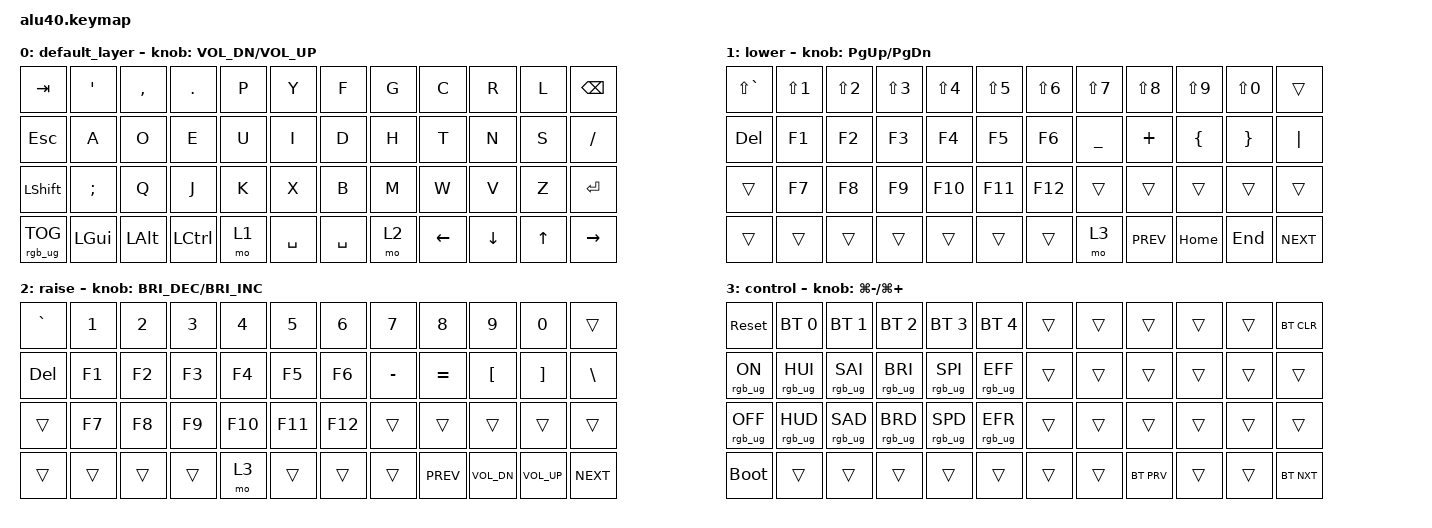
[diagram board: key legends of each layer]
/*
 * Copyright (c) 2022 The ZMK Contributors
 *
 * SPDX-License-Identifier: MIT
 */

#include <behaviors.dtsi>
#include <dt-bindings/zmk/bt.h>
#include <dt-bindings/zmk/keys.h>
#include <dt-bindings/zmk/rgb.h>

/ {
    keymap {
        compatible = "zmk,keymap";

        default_layer {
            // -----------------------------------------------------------------------------------------
            // | ESC/~ |  Q   |  W   |  E   |  R   |  T   |   Y   |  U    |  I   |  O   |   P   | BSPC  |
            // | TAB   |  A   |  S   |  D   |  F   |  G   |   H   |  J    |  K   |  L   |   ;   |  '    |
            // | SHIFT |  Z   |  X   |  C   |  V   |  B   |   N   |  M    |  ,   |  .   |   /   |RET/SFT|
            // | PLAY  | LCTL | LALT | LGUI | LOWR |     SPACE    |  RAIS | LARW | UARW | DARW  |  RARW |

            bindings = <
&kp TAB          &kp SQT        &kp COMMA  &kp PERIOD  &kp P  &kp Y      &kp F      &kp G  &kp C     &kp R     &kp L   &kp BSPC
&kp ESCAPE       &kp A          &kp O      &kp E       &kp U  &kp I      &kp D      &kp H  &kp T     &kp N     &kp S   &kp FSLH
&kp LSHFT        &kp SEMICOLON  &kp Q      &kp J       &kp K  &kp X      &kp B      &kp M  &kp W     &kp V     &kp Z   &kp RETURN
&rgb_ug RGB_TOG  &kp LGUI       &kp LALT   &kp LCTRL   &mo 1  &kp SPACE  &kp SPACE  &mo 2  &kp LEFT  &kp DOWN  &kp UP  &kp RIGHT
            >;

            sensor-bindings = <&inc_dec_kp C_VOL_DN C_VOL_UP>;
        };

        lower {
            bindings = <
&kp LS(GRAVE)  &kp LS(N1)  &kp LS(N2)  &kp LS(N3)  &kp LS(N4)  &kp LS(N5)  &kp LS(N6)  &kp LS(N7)  &kp LS(N8)  &kp LS(N9)  &kp LS(N0)  &trans
&kp DEL        &kp F1      &kp F2      &kp F3      &kp F4      &kp F5      &kp F6      &kp UNDER   &kp PLUS    &kp LBRC    &kp RBRC    &kp PIPE
&trans         &kp F7      &kp F8      &kp F9      &kp F10     &kp F11     &kp F12     &trans      &trans      &trans      &trans      &trans
&trans         &trans      &trans      &trans      &trans      &trans      &trans      &mo 3       &kp C_PREV  &kp HOME    &kp END     &kp C_NEXT
            >;

            sensor-bindings = <&inc_dec_kp PG_UP PG_DN>;
        };

        raise {
            bindings = <
&kp GRAVE  &kp N1  &kp N2  &kp N3  &kp N4   &kp N5   &kp N6   &kp N7     &kp N8      &kp N9        &kp N0        &trans
&kp DEL    &kp F1  &kp F2  &kp F3  &kp F4   &kp F5   &kp F6   &kp MINUS  &kp EQUAL   &kp LBKT      &kp RBKT      &kp BSLH
&trans     &kp F7  &kp F8  &kp F9  &kp F10  &kp F11  &kp F12  &trans     &trans      &trans        &trans        &trans
&trans     &trans  &trans  &trans  &mo 3    &trans   &trans   &trans     &kp C_PREV  &kp C_VOL_DN  &kp C_VOL_UP  &kp C_NEXT
            >;

            sensor-bindings = <&inc_dec_kp C_BRI_DEC C_BRI_INC>;
        };

        control {
            bindings = <
&sys_reset       &bt BT_SEL 0     &bt BT_SEL 1     &bt BT_SEL 2     &bt BT_SEL 3     &bt BT_SEL 4     &trans  &trans  &trans      &trans  &trans  &bt BT_CLR
&rgb_ug RGB_ON   &rgb_ug RGB_HUI  &rgb_ug RGB_SAI  &rgb_ug RGB_BRI  &rgb_ug RGB_SPI  &rgb_ug RGB_EFF  &trans  &trans  &trans      &trans  &trans  &trans
&rgb_ug RGB_OFF  &rgb_ug RGB_HUD  &rgb_ug RGB_SAD  &rgb_ug RGB_BRD  &rgb_ug RGB_SPD  &rgb_ug RGB_EFR  &trans  &trans  &trans      &trans  &trans  &trans
&bootloader      &trans           &trans           &trans           &trans           &trans           &trans  &trans  &bt BT_PRV  &trans  &trans  &bt BT_NXT
            >;

            sensor-bindings = <&inc_dec_kp LG(MINUS) LG(PLUS)>;
        };
    };
};
